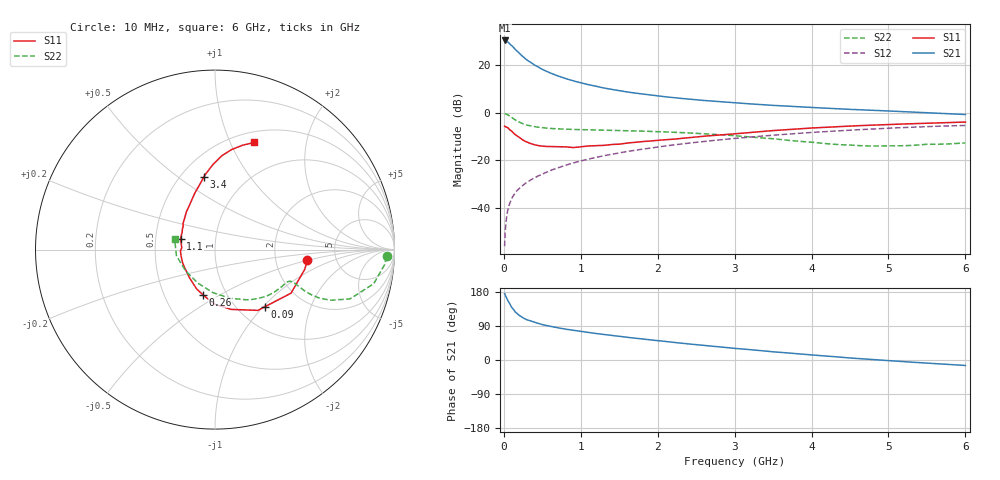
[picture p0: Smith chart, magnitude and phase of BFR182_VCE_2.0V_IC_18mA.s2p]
! Infineon Technologies  Discrete & RF Semiconductors
! BFR182
! VCE =  2.0 V,  IC =  18 mA
! Common Emitter S-Parameters:  Nov 2015
# GHz  S  MA  R  50
!  f  S11  S21  S12  S22
! GHz  MAG  ANG  MAG  ANG  MAG  ANG  MAG  ANG
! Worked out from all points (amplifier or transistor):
!   210 points, 10 MHz to 6 GHz, reference 50 ohm
!   highest |S21| = 30.2 dB at 10 MHz (marker M1)
!   |S21| within 3 dB of that: start of sweep to 127.1 MHz
!   unconditionally stable (mu >= 1): 490.4 MHz to 2.591 GHz
!   at 185 MHz: K = 0.70, MSG = 28.8 dB, |S12| = -32.3 dB
!   at 1.52 GHz: K = 1.06, MAG = 11.4 dB, |S12| = -16.7 dB
!   at 6 GHz: K = 0.91, MSG = 2.3 dB, |S12| = -5.4 dB
!   S11 on the Smith chart (normalised r, x): 10 MHz: 3.07, -0.49; 90 MHz: 1.31, -1.02; 260 MHz: 0.77, -0.42; 1.1 GHz: 0.67, +0.08; 3.4 GHz: 0.65, +0.62; 6 GHz: 0.62, +1.23
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0.01  0.5186 -6.5  32.42 175.1  0.0016 88.5  0.9575 -2.3
0.02  0.5119 -12.4  32.1 170.2  0.0036 79.8  0.9484 -5.1
0.05  0.4883 -29.8  30.35 157.3  0.009 79.2  0.9048 -12.1
0.09  0.4221 -49.2  26.32 143.5  0.0143 72.8  0.8197 -18.3
0.1  0.4144 -54.8  25.6 139.5  0.0157 71.9  0.8001 -20.1
0.15  0.345 -74.9  20.99 126.2  0.0213 69.2  0.6995 -23.8
0.2  0.3045 -90.1  17.48 117.7  0.0258 68.9  0.6314 -25.0
0.26  0.2599 -105.3  14.3 110.1  0.0311 69.5  0.5757 -25.0
0.3  0.242 -115.0  12.66 106.1  0.0348 70.1  0.5478 -24.7
0.4  0.2124 -131.6  9.907 99.3  0.0433 71.6  0.507 -23.6
0.5  0.1986 -146.0  8.035 93.4  0.0518 72.0  0.4828 -22.9
0.7  0.1926 -168.1  5.877 84.9  0.0697 72.8  0.457 -22.8
0.8  0.1926 -177.8  5.165 81.5  0.0789 72.3  0.4501 -23.1
1.02  0.1939 167.4  4.131 75.0  0.0991 71.9  0.4394 -24.6
1.1  0.2005 163.2  3.848 72.7  0.1065 71.4  0.4365 -25.5
1.42  0.2161 147.1  3.025 64.6  0.1361 69.6  0.4246 -29.2
2.02  0.2648 126.9  2.216 50.7  0.1926 64.5  0.399 -38.2
3.1  0.3713 103.4  1.563 29.1  0.2976 53.3  0.319 -60.6
3.4  0.4081 98.8  1.453 23.6  0.3268 50.0  0.2915 -69.4
4.1  0.4853 90.0  1.259 11.8  0.3933 41.5  0.231 -97.0
5.1  0.5715 79.5  1.065 -3.1  0.48 28.8  0.2015 -149.8
6  0.635 70.0  0.913 -14.4  0.5391 16.1  0.2322 165.7
